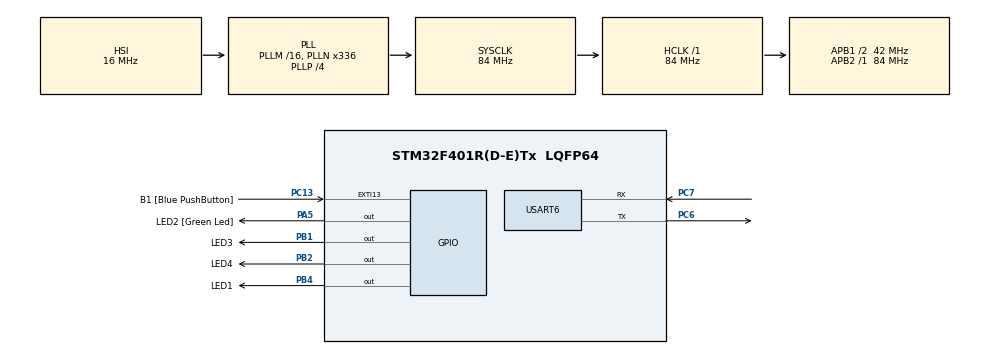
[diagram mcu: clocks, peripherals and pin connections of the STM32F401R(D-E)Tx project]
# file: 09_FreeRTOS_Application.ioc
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Mcu.Family=STM32F4
Mcu.Name=STM32F401R(D-E)Tx
Mcu.Package=LQFP64
NVIC.PriorityGroup=NVIC_PRIORITYGROUP_4
NVIC.TIM2_IRQn=true\:7\:0\:true\:false\:true\:false\:true\:true
NVIC.TimeBase=TIM2_IRQn
NVIC.TimeBaseIP=TIM2
NVIC.USART6_IRQn=true\:8\:0\:true\:false\:true\:true\:true\:true
PA10.Signal=USART1_RX
PA13.GPIO_Label=TMS
PA13.Signal=SYS_JTMS-SWDIO
PA14.GPIO_Label=TCK
PA14.Signal=SYS_JTCK-SWCLK
PA2.GPIO_Label=USART_TX
PA2.GPIO_Mode=GPIO_MODE_AF_PP
PA2.GPIO_PuPd=GPIO_NOPULL
PA2.GPIO_Speed=GPIO_SPEED_FREQ_LOW
PA2.Signal=USART2_TX
PA3.GPIO_Label=USART_RX
PA3.GPIO_Mode=GPIO_MODE_AF_PP
PA3.GPIO_PuPd=GPIO_NOPULL
PA3.GPIO_Speed=GPIO_SPEED_FREQ_LOW
PA3.Signal=USART2_RX
PA5.GPIO_Label=LED2 [Green Led]
PA5.GPIO_Mode=GPIO_MODE_OUTPUT_PP
PA5.GPIO_PuPd=GPIO_NOPULL
PA5.GPIO_Speed=GPIO_SPEED_FREQ_LOW
PA5.Signal=GPIO_Output
PA9.Signal=USART1_TX
PB1.GPIO_Label=LED3
PB1.Signal=GPIO_Output
PB2.GPIO_Label=LED4
PB2.Signal=GPIO_Output
PB3.GPIO_Label=SWO
PB3.Signal=SYS_JTDO-SWO
PB4.GPIO_Label=LED1
PB4.Signal=GPIO_Output
PC13-ANTI_TAMP.GPIO_Label=B1 [Blue PushButton]
PC13-ANTI_TAMP.GPIO_ModeDefaultEXTI=GPIO_MODE_IT_RISING
PC13-ANTI_TAMP.GPIO_PuPd=GPIO_NOPULL
PC13-ANTI_TAMP.Signal=GPXTI13
PC14-OSC32_IN.Signal=RCC_OSC32_IN
PC15-OSC32_OUT.Signal=RCC_OSC32_OUT
PC6.Mode=Asynchronous
PC6.Signal=USART6_TX
PC7.Mode=Asynchronous
PC7.Signal=USART6_RX
PH0\ -\ OSC_IN.Signal=RCC_OSC_IN
PH1\ -\ OSC_OUT.Signal=RCC_OSC_OUT
ProjectManager.HeapSize=0x200
ProjectManager.StackSize=0x400
ProjectManager.TargetToolchain=STM32CubeIDE
RCC.AHBFreq_Value=84000000
RCC.APB1CLKDivider=RCC_HCLK_DIV2
RCC.APB1Freq_Value=42000000
RCC.APB1TimFreq_Value=84000000
RCC.APB2Freq_Value=84000000
RCC.APB2TimFreq_Value=84000000
RCC.CortexFreq_Value=84000000
RCC.HCLKFreq_Value=84000000
RCC.HSE_VALUE=8000000
RCC.HSI_VALUE=16000000
RCC.LSE_VALUE=32768
RCC.PLLN=336
RCC.PLLP=RCC_PLLP_DIV4
RCC.PLLQ=7
RCC.SYSCLKFreq_VALUE=84000000
RCC.SYSCLKSource=RCC_SYSCLKSOURCE_PLLCLK
RCC.VCOOutputFreq_Value=336000000
RTC.Format=RTC_FORMAT_BIN
RTC.HourFormat=RTC_HOURFORMAT_24
RTC.Year=24
USART6.VirtualMode=VM_ASYNC
VP_RTC_VS_RTC_Activate.Mode=RTC_Enabled
VP_RTC_VS_RTC_Calendar.Mode=RTC_Calendar
VP_SYS_VS_tim2.Mode=TIM2
board=NUCLEO-F401RE

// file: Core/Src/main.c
/* USER CODE BEGIN Header */
/**
  ******************************************************************************
  * @file           : main.c
  * @brief          : Main program body
  ******************************************************************************
  * @attention
  *
  * Copyright (c) 2024 STMicroelectronics.
  * All rights reserved.
  *
  * This software is licensed under terms that can be found in the LICENSE file
  * in the root directory of this software component.
  * If no LICENSE file comes with this software, it is provided AS-IS.
  *
  ******************************************************************************
  */
/* USER CODE END Header */
#include "main.h"

/* USER CODE BEGIN Includes */
#include <stdio.h>
#include <SEGGER_SYSVIEW.h>
#include "ApplMain.h"
#include "FreeRTOS.h"
#include "task.h"
/* USER CODE END Includes */

/* USER CODE BEGIN PM */
#define DWT_CTRL			(*((uint32_t*)0xE0001000))
#define DWT_CYCCNT 			(*((uint32_t*)0xE0001004))
#define DWT_CTRL_BIT_CYCCNTENA			(0)
/* USER CODE END PM */

RTC_HandleTypeDef hrtc;

UART_HandleTypeDef huart6;

void SystemClock_Config(void);
static void MX_GPIO_Init(void);
static void MX_USART6_UART_Init(void);
static void MX_RTC_Init(void);
/* USER CODE BEGIN PFP */
extern void initialise_monitor_handles();
extern void SEGGER_UART_init(uint32_t baud);
/* USER CODE END PFP */

/* USER CODE BEGIN 0 */
void enable_dwt_ts() {
	DWT_CTRL |= 1 << DWT_CTRL_BIT_CYCCNTENA;
	return;
}
/* USER CODE END 0 */

int main(void)
{

  /* USER CODE BEGIN 1 */
  initialise_monitor_handles();
  printf("Hello world..\n");
  /* USER CODE END 1 */

  /* MCU Configuration--------------------------------------------------------*/

  /* Reset of all peripherals, Initializes the Flash interface and the Systick. */
  HAL_Init();

  /* Configure the system clock */
  SystemClock_Config();

  /* Initialize all configured peripherals */
  MX_GPIO_Init();
  MX_USART6_UART_Init();
  MX_RTC_Init();
  /* USER CODE BEGIN 2 */
  //Enable cycle counter
  SEGGER_UART_init(500000U);

  enable_dwt_ts();

  SEGGER_SYSVIEW_Conf();

  ApplMain();

  /* USER CODE END 2 */

  /* Infinite loop */
  while (1)
  {

  }
}

void SystemClock_Config(void)
{
  RCC_OscInitTypeDef RCC_OscInitStruct = {0};
  RCC_ClkInitTypeDef RCC_ClkInitStruct = {0};

  /** Configure the main internal regulator output voltage
  */
  __HAL_RCC_PWR_CLK_ENABLE();
  __HAL_PWR_VOLTAGESCALING_CONFIG(PWR_REGULATOR_VOLTAGE_SCALE2);

  /** Initializes the RCC Oscillators according to the specified parameters
  * in the RCC_OscInitTypeDef structure.
  */
  RCC_OscInitStruct.OscillatorType = RCC_OSCILLATORTYPE_HSI|RCC_OSCILLATORTYPE_LSI;
  RCC_OscInitStruct.HSIState = RCC_HSI_ON;
  RCC_OscInitStruct.HSICalibrationValue = RCC_HSICALIBRATION_DEFAULT;
  RCC_OscInitStruct.LSIState = RCC_LSI_ON;
  RCC_OscInitStruct.PLL.PLLState = RCC_PLL_ON;
  RCC_OscInitStruct.PLL.PLLSource = RCC_PLLSOURCE_HSI;
  RCC_OscInitStruct.PLL.PLLM = 16;
  RCC_OscInitStruct.PLL.PLLN = 336;
  RCC_OscInitStruct.PLL.PLLP = RCC_PLLP_DIV4;
  RCC_OscInitStruct.PLL.PLLQ = 7;
  if (HAL_RCC_OscConfig(&RCC_OscInitStruct) != HAL_OK)
  {
    Error_Handler();
  }

  /** Initializes the CPU, AHB and APB buses clocks
  */
  RCC_ClkInitStruct.ClockType = RCC_CLOCKTYPE_HCLK|RCC_CLOCKTYPE_SYSCLK
                              |RCC_CLOCKTYPE_PCLK1|RCC_CLOCKTYPE_PCLK2;
  RCC_ClkInitStruct.SYSCLKSource = RCC_SYSCLKSOURCE_PLLCLK;
  RCC_ClkInitStruct.AHBCLKDivider = RCC_SYSCLK_DIV1;
  RCC_ClkInitStruct.APB1CLKDivider = RCC_HCLK_DIV2;
  RCC_ClkInitStruct.APB2CLKDivider = RCC_HCLK_DIV1;

  if (HAL_RCC_ClockConfig(&RCC_ClkInitStruct, FLASH_LATENCY_2) != HAL_OK)
  {
    Error_Handler();
  }
}

static void MX_RTC_Init(void)
{

  RTC_TimeTypeDef sTime = {0};
  RTC_DateTypeDef sDate = {0};

  /** Initialize RTC Only
  */
  hrtc.Instance = RTC;
  hrtc.Init.HourFormat = RTC_HOURFORMAT_24;
  hrtc.Init.AsynchPrediv = 127;
  hrtc.Init.SynchPrediv = 255;
  hrtc.Init.OutPut = RTC_OUTPUT_DISABLE;
  hrtc.Init.OutPutPolarity = RTC_OUTPUT_POLARITY_HIGH;
  hrtc.Init.OutPutType = RTC_OUTPUT_TYPE_OPENDRAIN;
  if (HAL_RTC_Init(&hrtc) != HAL_OK)
  {
    Error_Handler();
  }

  /** Initialize RTC and set the Time and Date
  */
  sTime.Hours = 0;
  sTime.Minutes = 0;
  sTime.Seconds = 0;
  sTime.DayLightSaving = RTC_DAYLIGHTSAVING_NONE;
  sTime.StoreOperation = RTC_STOREOPERATION_RESET;
  if (HAL_RTC_SetTime(&hrtc, &sTime, RTC_FORMAT_BIN) != HAL_OK)
  {
    Error_Handler();
  }
  sDate.WeekDay = RTC_WEEKDAY_MONDAY;
  sDate.Month = RTC_MONTH_JANUARY;
  sDate.Date = 1;
  sDate.Year = 24;

  if (HAL_RTC_SetDate(&hrtc, &sDate, RTC_FORMAT_BIN) != HAL_OK)
  {
    Error_Handler();
  }

}

static void MX_USART6_UART_Init(void)
{

  huart6.Instance = USART6;
  huart6.Init.BaudRate = 115200;
  huart6.Init.WordLength = UART_WORDLENGTH_8B;
  huart6.Init.StopBits = UART_STOPBITS_1;
  huart6.Init.Parity = UART_PARITY_NONE;
  huart6.Init.Mode = UART_MODE_TX_RX;
  huart6.Init.HwFlowCtl = UART_HWCONTROL_NONE;
  huart6.Init.OverSampling = UART_OVERSAMPLING_16;
  if (HAL_UART_Init(&huart6) != HAL_OK)
  {
    Error_Handler();
  }

}

static void MX_GPIO_Init(void)
{
  GPIO_InitTypeDef GPIO_InitStruct = {0};

  /* GPIO Ports Clock Enable */
  __HAL_RCC_GPIOC_CLK_ENABLE();
  __HAL_RCC_GPIOH_CLK_ENABLE();
  __HAL_RCC_GPIOA_CLK_ENABLE();
  __HAL_RCC_GPIOB_CLK_ENABLE();

  /*Configure GPIO pin Output Level */
  HAL_GPIO_WritePin(LED2_GPIO_Port, LED2_Pin, GPIO_PIN_RESET);

  /*Configure GPIO pin Output Level */
  HAL_GPIO_WritePin(GPIOB, LED3_Pin|LED4_Pin|LED1_Pin, GPIO_PIN_RESET);

  /*Configure GPIO pin : B1_Pin */
  GPIO_InitStruct.Pin = B1_Pin;
  GPIO_InitStruct.Mode = GPIO_MODE_IT_RISING;
  GPIO_InitStruct.Pull = GPIO_NOPULL;
  HAL_GPIO_Init(B1_GPIO_Port, &GPIO_InitStruct);

  /*Configure GPIO pins : USART_TX_Pin USART_RX_Pin */
  GPIO_InitStruct.Pin = USART_TX_Pin|USART_RX_Pin;
  GPIO_InitStruct.Mode = GPIO_MODE_AF_PP;
  GPIO_InitStruct.Pull = GPIO_NOPULL;
  GPIO_InitStruct.Speed = GPIO_SPEED_FREQ_LOW;
  GPIO_InitStruct.Alternate = GPIO_AF7_USART2;
  HAL_GPIO_Init(GPIOA, &GPIO_InitStruct);

  /*Configure GPIO pin : LED2_Pin */
  GPIO_InitStruct.Pin = LED2_Pin;
  GPIO_InitStruct.Mode = GPIO_MODE_OUTPUT_PP;
  GPIO_InitStruct.Pull = GPIO_NOPULL;
  GPIO_InitStruct.Speed = GPIO_SPEED_FREQ_LOW;
  HAL_GPIO_Init(LED2_GPIO_Port, &GPIO_InitStruct);

  /*Configure GPIO pins : LED3_Pin LED4_Pin LED1_Pin */
  GPIO_InitStruct.Pin = LED3_Pin|LED4_Pin|LED1_Pin;
  GPIO_InitStruct.Mode = GPIO_MODE_OUTPUT_PP;
  GPIO_InitStruct.Pull = GPIO_NOPULL;
  GPIO_InitStruct.Speed = GPIO_SPEED_FREQ_LOW;
  HAL_GPIO_Init(GPIOB, &GPIO_InitStruct);

  /*Configure GPIO pins : PA9 PA10 */
  GPIO_InitStruct.Pin = GPIO_PIN_9|GPIO_PIN_10;
  GPIO_InitStruct.Mode = GPIO_MODE_AF_PP;
  GPIO_InitStruct.Pull = GPIO_NOPULL;
  GPIO_InitStruct.Speed = GPIO_SPEED_FREQ_VERY_HIGH;
  GPIO_InitStruct.Alternate = GPIO_AF7_USART1;
  HAL_GPIO_Init(GPIOA, &GPIO_InitStruct);

}

void HAL_TIM_PeriodElapsedCallback(TIM_HandleTypeDef *htim)
{
  if (htim->Instance == TIM2) {
    HAL_IncTick();
  }
}

void Error_Handler(void)
{
  __disable_irq();
  while (1)
  {
  }
}
